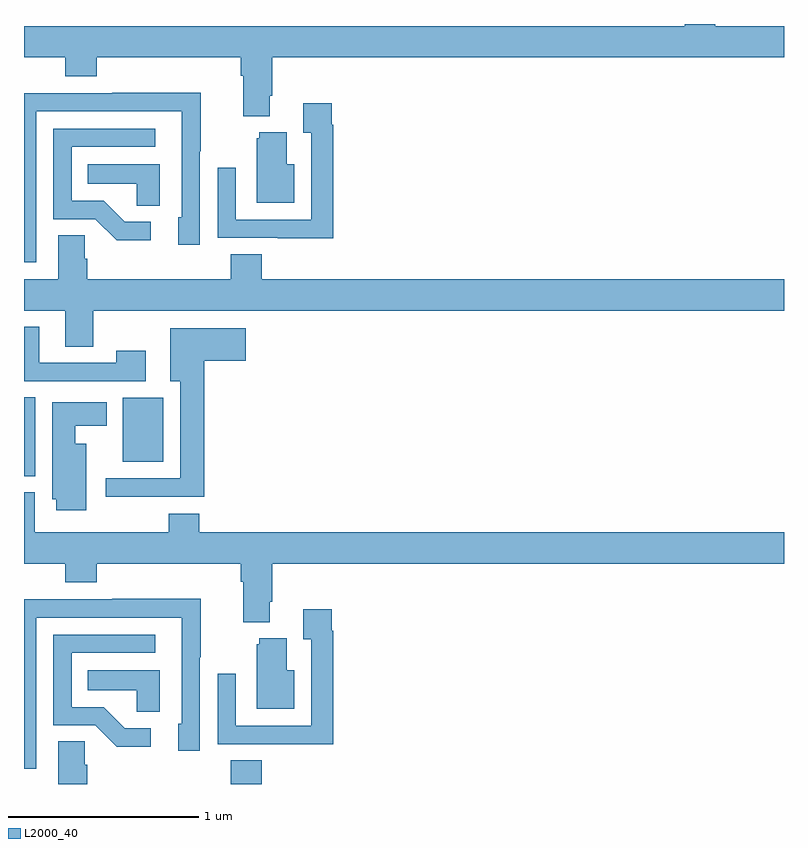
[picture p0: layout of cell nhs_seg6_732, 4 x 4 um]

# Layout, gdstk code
import gdstk
lib = gdstk.Library(unit=1e-6, precision=1e-09)
def R(c, l, rs):  # rectangles x0, y0, x1, y1
    for r in rs: c.add(gdstk.rectangle(r[:2], r[2:], *l))
def P(c, l, *ps):  # polygons
    for p in ps: c.add(gdstk.Polygon(p, *l))
L2000_40 = (2000, 40)

nhs_seg6_732 = lib.new_cell('nhs_seg6_732')
R(nhs_seg6_732, L2000_40, [(158.087,955.5,158.252,955.625), (157,957.121,157.06,957.536), (157.52,957.197,157.732,957.532)])
P(nhs_seg6_732, L2000_40, [(157,959.324),(157.217,959.324),(157.217,959.225),(157.382,959.225),(157.382,959.324),(158.141,959.324),(158.141,959.228),(158.153,959.228),(158.153,959.015),(158.293,959.015),(158.293,959.122),(158.306,959.122),(158.306,959.324),(161,959.324),(161,959.488),(160.638,959.488),(160.638,959.5),(160.478,959.5),(160.478,959.488),(157,959.488)],
  [(157.065,959.04),(157.83,959.04),(157.83,958.482),(157.811,958.482),(157.811,958.338),(157.926,958.338),(157.926,958.831),(157.929,958.831),(157.929,959.138),(157.465,959.138),(157.465,959.136),(157,959.136),(157,958.245),(157.065,958.245)],
  [(158.627,958.97),(158.62,958.97),(158.62,959.083),(158.471,959.083),(158.471,958.927),(158.511,958.927),(158.511,958.47),(158.115,958.47),(158.115,958.744),(158.019,958.744),(158.019,958.374),(158.335,958.374),(158.335,958.373),(158.627,958.373)],
  [(157.666,958.458),(157.531,958.458),(157.42,958.569),(157.251,958.569),(157.251,958.854),(157.69,958.854),(157.69,958.95),(157.155,958.95),(157.155,958.473),(157.374,958.473),(157.487,958.361),(157.666,958.361)],
  [(158.422,958.762),(158.383,958.762),(158.383,958.93),(158.237,958.93),(158.237,958.899),(158.225,958.899),(158.225,958.559),(158.422,958.559)],
  [(157.714,958.762),(157.336,958.762),(157.336,958.658),(157.593,958.658),(157.593,958.543),(157.714,958.543)],
  [(157.181,958.388),(157.181,958.156),(157,958.156),(157,957.992),(157.217,957.992),(157.217,957.802),(157.365,957.802),(157.365,957.992),(161,957.992),(161,958.156),(158.252,958.156),(158.252,958.289),(158.087,958.289),(158.087,958.156),(157.334,958.156),(157.334,958.265),(157.32,958.265),(157.32,958.388)],
  [(157.642,957.781),(157.486,957.781),(157.486,957.717),(157.081,957.717),(157.081,957.907),(157,957.907),(157,957.621),(157.642,957.621)],
  [(157.949,957.728),(158.167,957.728),(158.167,957.898),(157.769,957.898),(157.769,957.62),(157.823,957.62),(157.823,957.108),(157.431,957.108),(157.431,957.011),(157.949,957.011)],
  [(157.327,957.292),(157.27,957.292),(157.27,957.386),(157.435,957.386),(157.435,957.508),(157.148,957.508),(157.148,957),(157.169,957),(157.169,956.94),(157.327,956.94)],
  [(158.293,956.458),(158.306,956.458),(158.306,956.66),(161,956.66),(161,956.824),(157.922,956.824),(157.922,956.923),(157.762,956.923),(157.762,956.824),(157.057,956.824),(157.057,957.036),(157,957.036),(157,956.66),(157.217,956.66),(157.217,956.561),(157.382,956.561),(157.382,956.66),(158.141,956.66),(158.141,956.564),(158.153,956.564),(158.153,956.351),(158.293,956.351)],
  [(157.065,956.376),(157.83,956.376),(157.83,955.818),(157.811,955.818),(157.811,955.674),(157.926,955.674),(157.926,956.167),(157.929,956.167),(157.929,956.474),(157.465,956.474),(157.465,956.472),(157,956.472),(157,955.581),(157.065,955.581)],
  [(158.627,956.306),(158.62,956.306),(158.62,956.419),(158.471,956.419),(158.471,956.263),(158.511,956.263),(158.511,955.806),(158.115,955.806),(158.115,956.08),(158.019,956.08),(158.019,955.71),(158.335,955.71),(158.335,955.709),(158.627,955.709)],
  [(157.666,955.794),(157.531,955.794),(157.42,955.905),(157.251,955.905),(157.251,956.19),(157.69,956.19),(157.69,956.286),(157.155,956.286),(157.155,955.809),(157.374,955.809),(157.487,955.697),(157.666,955.697)],
  [(158.422,956.098),(158.383,956.098),(158.383,956.266),(158.237,956.266),(158.237,956.235),(158.225,956.235),(158.225,955.895),(158.422,955.895)],
  [(157.714,956.098),(157.336,956.098),(157.336,955.994),(157.593,955.994),(157.593,955.879),(157.714,955.879)],
  [(157.181,955.5),(157.334,955.5),(157.334,955.601),(157.32,955.601),(157.32,955.724),(157.181,955.724)])

lib.write_gds('nhs_seg6_732.gds')
